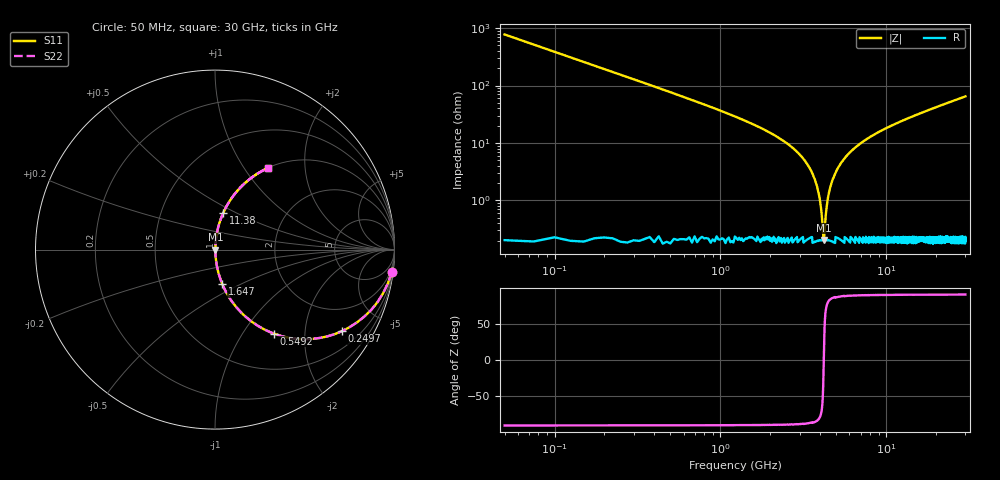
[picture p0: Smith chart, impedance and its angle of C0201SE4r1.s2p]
!	AVX Thin Film Operation 	Date: April 2014
!	Description: Accu-P® Series, Thin Film  SMD RF Capacitor
!	Part Number: 02013K4R1ABSTR
# MHZ S MA R 50
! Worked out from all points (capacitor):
!   1201 points, 50 MHz to 30 GHz, reference 50 ohm
!   read as one part in series: C = 4.1 pF near 199.8 MHz
!   lowest |Z| = 206 mohm at 4.193 GHz (marker M1)
!   series resonance near 4.2 GHz, so ESL is about 350 pH
!   S11 on the Smith chart (normalised r, x): 50 MHz: 1, -16; 249.7 MHz: 1.00, -3.10; 549.2 MHz: 1.00, -1.39; 1.647 GHz: 1.00, -0.40; 11.38 GHz: 1.00, +0.43; 30 GHz: 1.00, +1.30
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50  0.992 -7.3  0.128 82.6  0.128 82.6  0.992 -7.3
249.667  0.84 -32.8  0.542 57.1  0.542 57.1  0.84 -32.8
549.167  0.57 -55.1  0.82 34.7  0.82 34.7  0.57 -55.1
948.5  0.361 -68.5  0.93 21.2  0.93 21.2  0.361 -68.5
1647.333  0.195 -78.2  0.979 11.3  0.979 11.3  0.195 -78.2
2820.375  0.075 -84.1  0.995 4.3  0.995 4.3  0.075 -84.1
3469.292  0.036 -84.6  0.997 2.0  0.997 2.0  0.036 -84.6
3843.667  0.017 -81.9  0.998 0.9  0.998 0.9  0.017 -81.9
4093.25  0.005177 -66.2  0.998 0.3  0.998 0.3  0.005177 -66.2
4193.083  0.002088 -8.3  0.998 0.0  0.998 0.0  0.002088 -8.3
4292.917  0.004537 62.7  0.998 -0.2  0.998 -0.2  0.004537 62.7
4442.667  0.011 78.1  0.998 -0.6  0.998 -0.6  0.011 78.1
4592.417  0.017 81.9  0.998 -0.9  0.998 -0.9  0.017 81.9
5041.667  0.034 84.6  0.997 -1.9  0.997 -1.9  0.034 84.6
5715.542  0.058 84.6  0.996 -3.3  0.996 -3.3  0.058 84.6
6738.833  0.09 83.5  0.994 -5.2  0.994 -5.2  0.09 83.5
10058.29  0.179 79.0  0.982 -10.3  0.982 -10.3  0.179 79.0
11381.08  0.211 77.3  0.975 -12.2  0.975 -12.2  0.211 77.3
15025  0.291 72.7  0.955 -16.9  0.955 -16.9  0.291 72.7
20016.67  0.387 66.9  0.92 -22.8  0.92 -22.8  0.387 66.9
25033.29  0.471 61.7  0.88 -28.1  0.88 -28.1  0.471 61.7
30000  0.543 57.0  0.838 -32.9  0.838 -32.9  0.543 57.0
